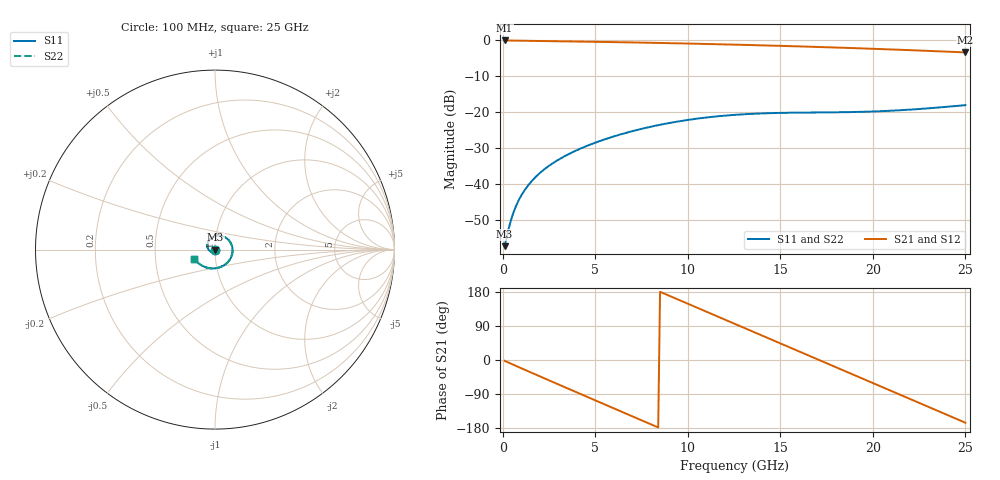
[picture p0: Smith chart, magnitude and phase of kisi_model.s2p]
! kisi D_s8_stitch_0p5: fast channel model (formula impedances, via model), up to 25 GHz
# Hz S RI R 50
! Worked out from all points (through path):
!   250 points, 100 MHz to 25 GHz, reference 50 ohm
!   highest |S21| = -0.02 dB at 100 MHz (marker M1); lowest = -3.3 dB at 25 GHz (marker M2)
!   group delay of S21, straight-line fit = 58.2 ps
!   lowest |S11| = -57.2 dB at 100 MHz (marker M3), VSWR 1.00, Z = 50.1 - j0.0507 ohm
!   |S11| at or under -10 dB: start of sweep to end of sweep
!   |S22| runs from -57.2 to -18.0 dB; largest |S21 - S12| = 0
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1e8  0.00128 -0.000505  0.9972 -0.0391  0.9972 -0.0391  0.00128 -0.000505
6e8  0.00102 -0.00406  0.9679 -0.2259  0.9679 -0.2259  0.00102 -0.00406
1.4e9  -0.00252 -0.00952  0.8526 -0.4983  0.8526 -0.4983  -0.00252 -0.00952
2.9e9  -0.0164 -0.0133  0.4548 -0.8627  0.4548 -0.8627  -0.0164 -0.0133
4.3e9  -0.0317 -0.00556  -0.0301 -0.9626  -0.0301 -0.9626  -0.0317 -0.00556
5.4e9  -0.0403 0.00846  -0.4022 -0.8639  -0.4022 -0.8639  -0.0403 0.00846
6.6e9  -0.0421 0.0294  -0.7232 -0.6025  -0.7232 -0.6025  -0.0421 0.0294
7.5e9  -0.0364 0.0463  -0.8708 -0.3324  -0.8708 -0.3324  -0.0364 0.0463
8.4e9  -0.0243 0.0617  -0.9219 -0.0323  -0.9219 -0.0323  -0.0243 0.0617
9.5e9  -0.00175 0.0748  -0.8494 0.327  -0.8494 0.327  -0.00175 0.0748
1.07e10  0.0288 0.0778  -0.6202 0.6467  -0.6202 0.6467  0.0288 0.0778
1.17e10  0.0545 0.0697  -0.3434 0.8143  -0.3434 0.8143  0.0545 0.0697
1.26e10  0.0745 0.0547  -0.0613 0.8701  -0.0613 0.8701  0.0745 0.0547
1.44e10  0.0969 0.00992  0.4698 0.7062  0.4698 0.7062  0.0969 0.00992
1.56e10  0.096 -0.0233  0.7106 0.4315  0.7106 0.4315  0.096 -0.0233
1.67e10  0.0853 -0.0512  0.807 0.1172  0.807 0.1172  0.0853 -0.0512
1.86e10  0.0507 -0.0868  0.671 -0.4109  0.671 -0.4109  0.0507 -0.0868
1.98e10  0.0223 -0.0998  0.4228 -0.6411  0.4228 -0.6411  0.0223 -0.0998
2.09e10  -0.0066 -0.1048  0.1352 -0.738  0.1352 -0.738  -0.0066 -0.1048
2.27e10  -0.0569 -0.0966  -0.3305 -0.6401  -0.3305 -0.6401  -0.0569 -0.0966
2.39e10  -0.0894 -0.0781  -0.5548 -0.4265  -0.5548 -0.4265  -0.0894 -0.0781
2.5e10  -0.1149 -0.0514  -0.6589 -0.1704  -0.6589 -0.1704  -0.1149 -0.0514
